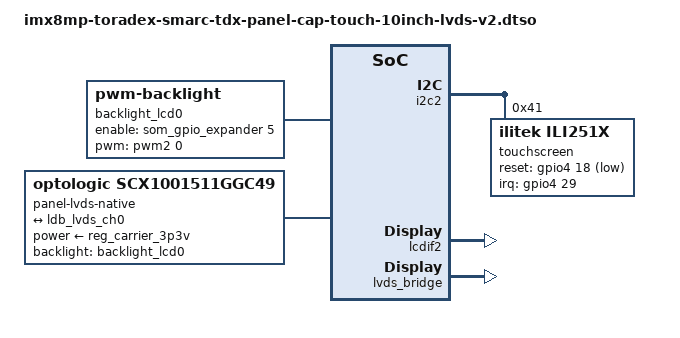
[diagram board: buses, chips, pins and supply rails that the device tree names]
// SPDX-License-Identifier: GPL-2.0-only OR MIT
/*
 * Copyright (c) Toradex
 *
 * Toradex Capacitive Touch Display 10.1" V2 connected via Toradex SMARC
 * Development Board LVDS0. Connect the panel to J48 and the touch controller
 * to J49.
 *
 * https://developer.toradex.com/hardware/accessories/displays/capacitive-touch-display-101inch-lvds
 * https://www.toradex.com/accessories/capacitive-touch-display-10.1-inch-lvds
 */

/dts-v1/;
/plugin/;

#include <dt-bindings/clock/imx8mp-clock.h>
#include <dt-bindings/gpio/gpio.h>
#include <dt-bindings/interrupt-controller/irq.h>

&{/} {
	backlight_lcd0: backlight-lcd0 {
		compatible = "pwm-backlight";
		brightness-levels = <0 45 63 88 119 158 203 255>;
		default-brightness-level = <4>;
		/* SMARC LCD0_BKLT_EN (SMARC S127) */
		enable-gpios = <&som_gpio_expander 5 GPIO_ACTIVE_HIGH>;
		/* SMARC LCD0_BKLT_PWM (SMARC S141) */
		pwms = <&pwm2 0 6666667 0>;
	};

	panel-lvds-native {
		compatible = "optologic,scx1001511ggc49", "panel-lvds";
		backlight = <&backlight_lcd0>;
		power-supply = <&reg_carrier_3p3v>;
		data-mapping = "vesa-24";
		height-mm = <136>;
		width-mm = <217>;

		panel-timing {
			clock-frequency = <64500000>;
			hactive = <1280>;
			hback-porch = <20>;
			hfront-porch = <20>;
			hsync-len = <2>;
			vactive = <800>;
			vback-porch = <5>;
			vfront-porch = <5>;
			vsync-len = <3>;
			de-active = <1>;
			hsync-active = <0>;
			vsync-active = <0>;
			pixelclk-active = <0>;
		};

		port {
			panel_lvds_native_in: endpoint {
				remote-endpoint = <&ldb_lvds_ch0>;
			};
		};
	};
};

/* SMARC I2C_LCD */
&i2c2 {
	#address-cells = <1>;
	#size-cells = <0>;

	touchscreen@41 {
		compatible = "ilitek,ili251x";
		reg = <0x41>;
		/* SMARC GPIO6 (SMARC P114) - LVDS_TOUCH_INT# */
		interrupt-parent = <&gpio4>;
		interrupts = <29 IRQ_TYPE_EDGE_RISING>;
		/* SMARC GPIO4 (SMARC P112) - LVDS_RST# */
		reset-gpios = <&gpio4 18 GPIO_ACTIVE_LOW>;
	};
};

&lcdif2 {
	status = "okay";
};

&ldb_lvds_ch0 {
	remote-endpoint = <&panel_lvds_native_in>;
};

&lvds_bridge {
	assigned-clocks = <&clk IMX8MP_CLK_MEDIA_LDB>,
			  <&clk IMX8MP_VIDEO_PLL1>;
	/*
	 * This display uses 64.5 MHz pixel clock, so IMX8MP_VIDEO_PLL1 needs
	 * to be 7 times 64.5MHz, or 451.5 MHz as the internal divider will
	 * always divide the output LVDS clock by 7.
	 */
	assigned-clock-rates = <0>, <451500000>;

	status = "okay";
};
